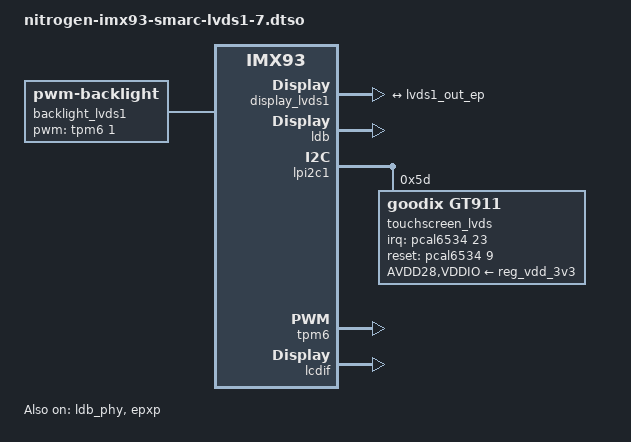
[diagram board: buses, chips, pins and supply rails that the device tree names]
// SPDX-License-Identifier: (GPL-2.0-or-later OR MIT)
/*
 * Copyright 2024 Ezurio
 */

/dts-v1/;
/plugin/;

#include <dt-bindings/gpio/gpio.h>
#include <dt-bindings/interrupt-controller/irq.h>
#include "imx93-pinfunc.h"

#include "nitrogen-imx93-bd-panel.dtsi"

&{/} {
	backlight_lvds1: backlight-lvds1 {
		brightness-levels = <0 1 2 3 4 5 6 7 8 9 10>;
		compatible = "pwm-backlight";
		default-brightness-level = <8>;

		pwms = <&tpm6 1 30000 0>;       /* 33.3 KHz */
	};

	display_lvds1: panel-lvds1 {
		compatible = "panel-lvds";
		data-mapping = "vesa-24";

		backlight = <&backlight_lvds1>;

		width-mm = <150>;
		height-mm = <94>;

		panel-timing {
			BD_PANEL_TIMING
		};

		port {
			display_in_ep_lvds1: endpoint {
				remote-endpoint = <&lvds1_out_ep>;
			};
		};
	};

	display-subsystem {
		status = "okay";
	};
};

&ldb {
	status = "okay";

	#address-cells = <1>;
	#size-cells = <0>;

	lvds-channel@0 {
		status = "okay";

		#address-cells = <1>;
		#size-cells = <0>;

		port@1 {
			reg = <1>;

			lvds1_out_ep: endpoint {
				remote-endpoint = <&display_in_ep_lvds1>;
			};
		};
	};
};

&ldb_phy {
	status = "okay";
};

&lpi2c1 {
	#address-cells = <1>;
	#size-cells = <0>;

	status = "okay";

	touchscreen_lvds: touchscreen-lvds@5d {
		compatible = "goodix,gt911";
		reg = <0x5d>;

		AVDD28-supply = <&reg_vdd_3v3>; /* Real supply is on the display */
		VDDIO-supply = <&reg_vdd_3v3>;

		interrupts-extended = <&pcal6534 23 IRQ_TYPE_EDGE_FALLING>;
		interrupt-names = "irq";
		irq-gpios = <&pcal6534 23 (GPIO_ACTIVE_HIGH | GPIO_PULL_UP)>;

		reset-gpios = <&pcal6534 9 GPIO_ACTIVE_HIGH>; // P1_1

		touchscreen-min-x = <0>;
		touchscreen-min-y = <0>;
		touchscreen-size-x = <1280>;
		touchscreen-size-y = <800>;
	};
};

&lvds_backlight {
	status = "disabled";
};

&tpm6 {
	status = "okay";
};

&epxp {
	status = "okay";
};

&lcdif {
	// 1st 2 numbers are set for your display panel (72MHz here)
	// 7 * PIXEL_CLOCK, PIXEL_CLOCK
	assigned-clock-rates = <504000000>, <72000000>, <400000000>, <133333333>;
	status = "okay";
};
